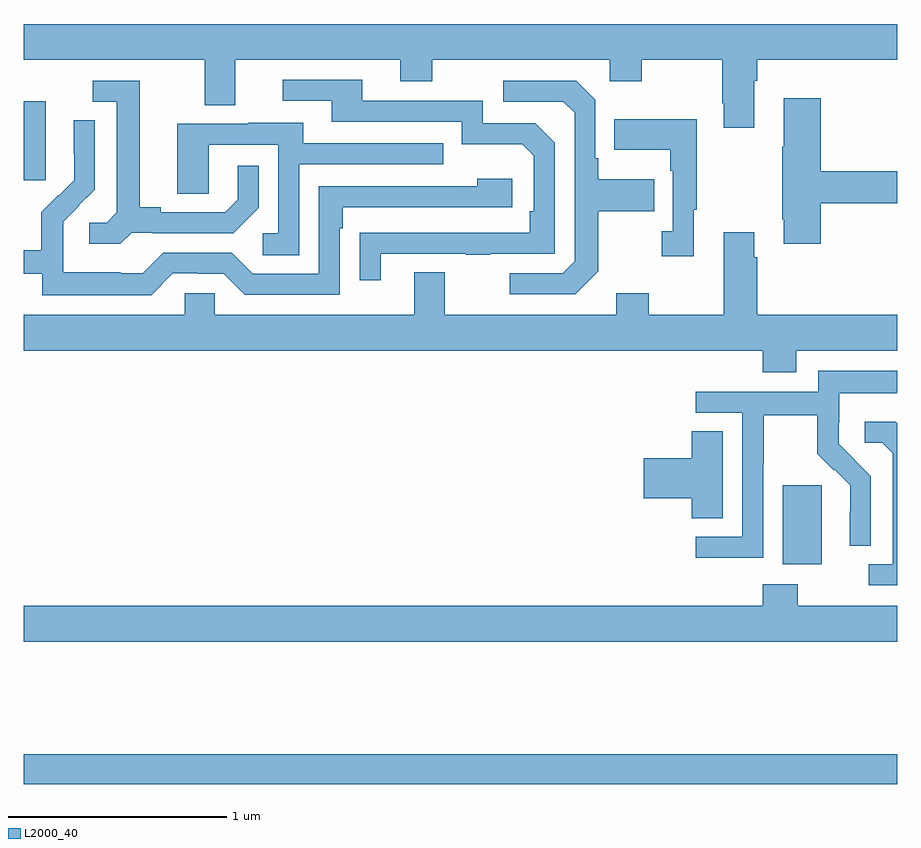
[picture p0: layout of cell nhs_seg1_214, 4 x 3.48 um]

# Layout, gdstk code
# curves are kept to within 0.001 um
import gdstk
lib = gdstk.Library(unit=1e-6, precision=1e-09)
def R(c, l, rs):  # rectangles x0, y0, x1, y1
    for r in rs: c.add(gdstk.rectangle(r[:2], r[2:], *l))
def P(c, l, *ps):  # polygons
    for p in ps: c.add(gdstk.Polygon(p, *l))
L2000_40 = (2000, 40)

nhs_seg1_214 = lib.new_cell('nhs_seg1_214')
R(nhs_seg1_214, L2000_40, [(121,568.396,125,568.532), (124.475,569.402,124.654,569.763), (121,571.161,121.102,571.522)])
P(nhs_seg1_214, L2000_40, [(124.345,571.616),(124.358,571.616),(124.358,571.712),(125,571.712),(125,571.876),(121,571.876),(121,571.712),(121.829,571.712),(121.829,571.504),(121.969,571.504),(121.969,571.712),(122.723,571.712),(122.723,571.613),(122.871,571.613),(122.871,571.712),(123.684,571.712),(123.684,571.613),(123.831,571.613),(123.831,571.712),(124.198,571.712),(124.198,571.513),(124.205,571.513),(124.205,571.401),(124.345,571.401)],
  [(122.635,570.825),(123.025,570.825),(123.025,570.82),(123.137,570.82),(123.137,570.825),(123.432,570.825),(123.432,571.332),(123.342,571.422),(123.102,571.422),(123.102,571.524),(122.551,571.524),(122.551,571.62),(122.187,571.62),(122.187,571.524),(122.411,571.524),(122.411,571.428),(123.006,571.428),(123.006,571.325),(123.283,571.325),(123.336,571.272),(123.336,571.018),(123.316,571.018),(123.316,570.921),(122.539,570.92),(122.539,570.702),(122.635,570.702)],
  [(123.631,570.745),(123.631,571.018),(123.887,571.018),(123.887,571.165),(123.631,571.165),(123.631,571.261),(123.618,571.261),(123.618,571.53),(123.531,571.617),(123.195,571.617),(123.195,571.521),(123.471,571.521),(123.522,571.47),(123.522,570.789),(123.468,570.735),(123.225,570.735),(123.225,570.639),(123.525,570.639)],
  [(121.494,570.921),(121.588,570.921),(121.588,570.918),(121.96,570.918),(122.076,571.034),(122.076,571.228),(121.979,571.228),(121.979,571.071),(121.922,571.014),(121.627,571.014),(121.627,571.037),(121.531,571.037),(121.531,571.617),(121.317,571.617),(121.317,571.521),(121.427,571.521),(121.427,571.013),(121.38,570.966),(121.299,570.966),(121.299,570.869),(121.442,570.869)],
  [(124.649,571.055),(125,571.055),(125,571.202),(124.649,571.202),(124.649,571.537),(124.481,571.537),(124.481,571.313),(124.474,571.313),(124.474,570.982),(124.481,570.982),(124.481,570.87),(124.649,570.87)],
  [(124.069,571.025),(124.081,571.025),(124.081,571.441),(123.703,571.441),(123.703,571.301),(123.96,571.301),(123.96,571.205),(123.972,571.205),(123.972,570.926),(123.921,570.926),(123.921,570.813),(124.069,570.813)],
  [(121.683,570.735),(121.799,570.735),(121.799,570.732),(121.917,570.732),(122.013,570.636),(122.448,570.636),(122.448,570.941),(122.461,570.941),(122.461,571.038),(123.238,571.038),(123.238,571.168),(123.077,571.168),(123.077,571.134),(122.352,571.134),(122.352,570.732),(122.049,570.732),(121.953,570.828),(121.638,570.828),(121.545,570.735),(121.445,570.735),(121.445,570.739),(121.182,570.739),(121.182,570.873),(121.18,570.873),(121.18,570.97),(121.326,571.118),(121.326,571.436),(121.23,571.436),(121.23,571.282),(121.232,571.282),(121.232,571.16),(121.161,571.089),(121.158,571.092),(121.081,571.015),(121.081,570.841),(121,570.841),(121,570.732),(121.086,570.732),(121.086,570.635),(121.583,570.635)],
  [(122.262,571.233),(122.921,571.233),(122.921,571.329),(122.281,571.329),(122.281,571.423),(122.027,571.423),(122.027,571.419),(121.703,571.419),(121.703,571.099),(121.848,571.099),(121.848,571.323),(122.166,571.323),(122.166,570.918),(122.094,570.918),(122.094,570.817),(122.262,570.817)],
  [(124.537,570.38),(125,570.38),(125,570.544),(124.358,570.544),(124.358,570.809),(124.345,570.809),(124.345,570.922),(124.205,570.922),(124.205,570.544),(123.861,570.544),(123.861,570.643),(123.713,570.643),(123.713,570.544),(122.929,570.544),(122.929,570.739),(122.789,570.739),(122.789,570.544),(121.875,570.544),(121.875,570.642),(121.737,570.642),(121.737,570.544),(121,570.544),(121,570.38),(124.385,570.38),(124.385,570.281),(124.537,570.281)],
  [(124.386,569.86),(124.389,569.86),(124.389,570.084),(124.633,570.084),(124.633,569.909),(124.71,569.832),(124.713,569.835),(124.784,569.765),(124.784,569.642),(124.782,569.642),(124.782,569.488),(124.878,569.488),(124.878,569.806),(124.732,569.954),(124.732,570.051),(124.734,570.051),(124.734,570.185),(124.997,570.185),(124.997,570.189),(125,570.189),(125,570.289),(124.638,570.289),(124.638,570.192),(124.077,570.192),(124.077,570.096),(124.29,570.096),(124.29,569.529),(124.077,569.529),(124.077,569.431),(124.386,569.431)],
  [(125,570.049),(124.994,570.055),(124.851,570.055),(124.851,569.958),(124.932,569.958),(124.979,569.911),(124.979,569.403),(124.869,569.403),(124.869,569.307),(125,569.307)],
  [(124.201,570.011),(124.058,570.011),(124.058,569.888),(123.84,569.888),(123.84,569.705),(124.058,569.705),(124.058,569.614),(124.201,569.614)],
  [(125,569.212),(124.545,569.212),(124.545,569.311),(124.385,569.311),(124.385,569.212),(121,569.212),(121,569.048),(125,569.048)])

lib.write_gds('nhs_seg1_214.gds')
